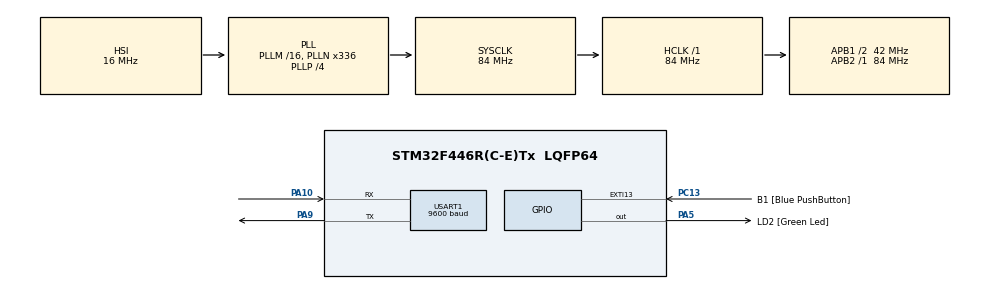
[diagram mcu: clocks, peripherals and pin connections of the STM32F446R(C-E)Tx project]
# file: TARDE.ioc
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Dma.Request0=USART1_RX
Dma.Request1=USART1_TX
Dma.USART1_RX.0.Direction=DMA_PERIPH_TO_MEMORY
Dma.USART1_RX.0.FIFOMode=DMA_FIFOMODE_DISABLE
Dma.USART1_RX.0.Instance=DMA2_Stream2
Dma.USART1_RX.0.MemDataAlignment=DMA_MDATAALIGN_BYTE
Dma.USART1_RX.0.MemInc=DMA_MINC_ENABLE
Dma.USART1_RX.0.Mode=DMA_NORMAL
Dma.USART1_RX.0.PeriphDataAlignment=DMA_PDATAALIGN_BYTE
Dma.USART1_RX.0.PeriphInc=DMA_PINC_DISABLE
Dma.USART1_RX.0.Priority=DMA_PRIORITY_LOW
Dma.USART1_TX.1.Direction=DMA_MEMORY_TO_PERIPH
Dma.USART1_TX.1.FIFOMode=DMA_FIFOMODE_DISABLE
Dma.USART1_TX.1.Instance=DMA2_Stream7
Dma.USART1_TX.1.MemDataAlignment=DMA_MDATAALIGN_BYTE
Dma.USART1_TX.1.MemInc=DMA_MINC_ENABLE
Dma.USART1_TX.1.Mode=DMA_NORMAL
Dma.USART1_TX.1.PeriphDataAlignment=DMA_PDATAALIGN_BYTE
Dma.USART1_TX.1.PeriphInc=DMA_PINC_DISABLE
Dma.USART1_TX.1.Priority=DMA_PRIORITY_LOW
Mcu.Family=STM32F4
Mcu.Name=STM32F446R(C-E)Tx
Mcu.Package=LQFP64
NVIC.DMA2_Stream2_IRQn=true\:0\:0\:false\:false\:true\:false\:true\:true
NVIC.DMA2_Stream7_IRQn=true\:0\:0\:false\:false\:true\:false\:true\:true
NVIC.PriorityGroup=NVIC_PRIORITYGROUP_0
NVIC.USART1_IRQn=true\:0\:0\:false\:false\:true\:true\:true\:true
PA10.Mode=Asynchronous
PA10.Signal=USART1_RX
PA5.GPIO_Label=LD2 [Green Led]
PA5.Signal=GPIO_Output
PA9.Mode=Asynchronous
PA9.Signal=USART1_TX
PC13.GPIO_Label=B1 [Blue PushButton]
PC13.GPIO_ModeDefaultEXTI=GPIO_MODE_IT_FALLING
PC13.Signal=GPXTI13
PC14-OSC32_IN.Mode=LSE-External-Oscillator
PC14-OSC32_IN.Signal=RCC_OSC32_IN
PC15-OSC32_OUT.Mode=LSE-External-Oscillator
PC15-OSC32_OUT.Signal=RCC_OSC32_OUT
PH0-OSC_IN.Mode=HSE-External-Oscillator
PH0-OSC_IN.Signal=RCC_OSC_IN
PH1-OSC_OUT.Mode=HSE-External-Oscillator
PH1-OSC_OUT.Signal=RCC_OSC_OUT
ProjectManager.HeapSize=0x200
ProjectManager.StackSize=0x400
ProjectManager.TargetToolchain=STM32CubeIDE
RCC.48MHZClocksFreq_Value=84000000
RCC.AHBFreq_Value=84000000
RCC.APB1CLKDivider=RCC_HCLK_DIV2
RCC.APB1Freq_Value=42000000
RCC.APB1TimFreq_Value=84000000
RCC.APB2Freq_Value=84000000
RCC.APB2TimFreq_Value=84000000
RCC.CortexFreq_Value=84000000
RCC.FLatency-AdvancedSettings=FLASH_LATENCY_2
RCC.HCLKFreq_Value=84000000
RCC.HSE_VALUE=8000000
RCC.HSI_VALUE=16000000
RCC.PLLN=336
RCC.PLLP=RCC_PLLP_DIV4
RCC.SYSCLKFreq_VALUE=84000000
RCC.SYSCLKSource=RCC_SYSCLKSOURCE_PLLCLK
RCC.USBFreq_Value=168000000
RCC.VCOOutputFreq_Value=336000000
USART1.BaudRate=9600
USART1.VirtualMode=VM_ASYNC
board=NUCLEO-F446RE

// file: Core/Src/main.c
/* USER CODE BEGIN Header */
/**
  ******************************************************************************
  * @file           : main.c
  * @brief          : Main program body
  ******************************************************************************
  * @attention
  *
  * Copyright (c) 2023 STMicroelectronics.
  * All rights reserved.
  *
  * This software is licensed under terms that can be found in the LICENSE file
  * in the root directory of this software component.
  * If no LICENSE file comes with this software, it is provided AS-IS.
  *
  ******************************************************************************
  */
/* USER CODE END Header */
#include "main.h"
#include "stm32f4xx_hal_uart.h"
#include <string.h>

UART_HandleTypeDef huart1;
DMA_HandleTypeDef hdma_usart1_rx;
DMA_HandleTypeDef hdma_usart1_tx;

/* USER CODE BEGIN PV */
uint8_t tx_buffer[]="MATIAS\r";
uint8_t rx_buffer[5];
uint8_t comparate[]="LEDUP";
uint8_t comparate1[]="LEDDW";

int compareBuffers(const uint8_t *buffer1, const uint8_t *buffer2, size_t size)
{
  for (size_t i = 0; i < size; i++)
  {
    if (buffer1[i] != buffer2[i])
    {
      return -1; // Los buffers son diferentes
    }
  }
  return 0; // Los buffers son iguales
}

void HAL_UART_RxCpltCallback(UART_HandleTypeDef *huart)
{
	UNUSED(huart);

	HAL_UART_Receive_DMA(&huart1, rx_buffer, 5);
	//PUEDO HACERLO ENTRAR TODAS LAS VECES Q QUIERO Y SOLO COMPARE LAS CADENAS UNA VEZ QUE SE LE MANDA UN ESPACIO
	if((compareBuffers(rx_buffer, comparate, strlen("LEDUP")))==0)
	{
		HAL_GPIO_WritePin(GPIOA, GPIO_PIN_5, GPIO_PIN_SET);
		HAL_UART_Transmit_DMA(&huart1, (uint8_t*)"LED is ON. \n\r", strlen("LED is ON. \n\r"));
		memset(rx_buffer,'\0',5);
//		HAL_Delay(1500);
	}
	else if((compareBuffers(rx_buffer, comparate1, strlen("LEDDW")))==0)
	{
		HAL_GPIO_WritePin(GPIOA, GPIO_PIN_5, GPIO_PIN_RESET);
		HAL_UART_Transmit_DMA(&huart1, (uint8_t*)"LED is OFF. \n\r", strlen("LED is OFF. \n\r"));
		memset(rx_buffer,'\0',5);
	}

}

/* USER CODE END PV */

void SystemClock_Config(void);
static void MX_GPIO_Init(void);
static void MX_DMA_Init(void);
static void MX_USART1_UART_Init(void);

int main(void)
{

  /* MCU Configuration--------------------------------------------------------*/

  /* Reset of all peripherals, Initializes the Flash interface and the Systick. */
  HAL_Init();

  /* Configure the system clock */
  SystemClock_Config();

  /* Initialize all configured peripherals */
  MX_GPIO_Init();
  MX_DMA_Init();
  MX_USART1_UART_Init();
  /* USER CODE BEGIN 2 */

  HAL_UART_Receive_DMA(&huart1, rx_buffer, 5);
  /* USER CODE END 2 */

  /* Infinite loop */
  while (1)
  {

  }
}

void SystemClock_Config(void)
{
  RCC_OscInitTypeDef RCC_OscInitStruct = {0};
  RCC_ClkInitTypeDef RCC_ClkInitStruct = {0};

  /** Configure the main internal regulator output voltage
  */
  __HAL_RCC_PWR_CLK_ENABLE();
  __HAL_PWR_VOLTAGESCALING_CONFIG(PWR_REGULATOR_VOLTAGE_SCALE3);

  /** Initializes the RCC Oscillators according to the specified parameters
  * in the RCC_OscInitTypeDef structure.
  */
  RCC_OscInitStruct.OscillatorType = RCC_OSCILLATORTYPE_HSI;
  RCC_OscInitStruct.HSIState = RCC_HSI_ON;
  RCC_OscInitStruct.HSICalibrationValue = RCC_HSICALIBRATION_DEFAULT;
  RCC_OscInitStruct.PLL.PLLState = RCC_PLL_ON;
  RCC_OscInitStruct.PLL.PLLSource = RCC_PLLSOURCE_HSI;
  RCC_OscInitStruct.PLL.PLLM = 16;
  RCC_OscInitStruct.PLL.PLLN = 336;
  RCC_OscInitStruct.PLL.PLLP = RCC_PLLP_DIV4;
  RCC_OscInitStruct.PLL.PLLQ = 2;
  RCC_OscInitStruct.PLL.PLLR = 2;
  if (HAL_RCC_OscConfig(&RCC_OscInitStruct) != HAL_OK)
  {
    Error_Handler();
  }

  /** Initializes the CPU, AHB and APB buses clocks
  */
  RCC_ClkInitStruct.ClockType = RCC_CLOCKTYPE_HCLK|RCC_CLOCKTYPE_SYSCLK
                              |RCC_CLOCKTYPE_PCLK1|RCC_CLOCKTYPE_PCLK2;
  RCC_ClkInitStruct.SYSCLKSource = RCC_SYSCLKSOURCE_PLLCLK;
  RCC_ClkInitStruct.AHBCLKDivider = RCC_SYSCLK_DIV1;
  RCC_ClkInitStruct.APB1CLKDivider = RCC_HCLK_DIV2;
  RCC_ClkInitStruct.APB2CLKDivider = RCC_HCLK_DIV1;

  if (HAL_RCC_ClockConfig(&RCC_ClkInitStruct, FLASH_LATENCY_2) != HAL_OK)
  {
    Error_Handler();
  }
}

static void MX_USART1_UART_Init(void)
{

  huart1.Instance = USART1;
  huart1.Init.BaudRate = 9600;
  huart1.Init.WordLength = UART_WORDLENGTH_8B;
  huart1.Init.StopBits = UART_STOPBITS_1;
  huart1.Init.Parity = UART_PARITY_NONE;
  huart1.Init.Mode = UART_MODE_TX_RX;
  huart1.Init.HwFlowCtl = UART_HWCONTROL_NONE;
  huart1.Init.OverSampling = UART_OVERSAMPLING_16;
  if (HAL_UART_Init(&huart1) != HAL_OK)
  {
    Error_Handler();
  }

}

static void MX_DMA_Init(void)
{

  /* DMA controller clock enable */
  __HAL_RCC_DMA2_CLK_ENABLE();

  /* DMA interrupt init */
  /* DMA2_Stream2_IRQn interrupt configuration */
  HAL_NVIC_SetPriority(DMA2_Stream2_IRQn, 0, 0);
  HAL_NVIC_EnableIRQ(DMA2_Stream2_IRQn);
  /* DMA2_Stream7_IRQn interrupt configuration */
  HAL_NVIC_SetPriority(DMA2_Stream7_IRQn, 0, 0);
  HAL_NVIC_EnableIRQ(DMA2_Stream7_IRQn);

}

static void MX_GPIO_Init(void)
{
  GPIO_InitTypeDef GPIO_InitStruct = {0};

  /* GPIO Ports Clock Enable */
  __HAL_RCC_GPIOC_CLK_ENABLE();
  __HAL_RCC_GPIOH_CLK_ENABLE();
  __HAL_RCC_GPIOA_CLK_ENABLE();

  /*Configure GPIO pin Output Level */
  HAL_GPIO_WritePin(LD2_GPIO_Port, LD2_Pin, GPIO_PIN_RESET);

  /*Configure GPIO pin : B1_Pin */
  GPIO_InitStruct.Pin = B1_Pin;
  GPIO_InitStruct.Mode = GPIO_MODE_IT_FALLING;
  GPIO_InitStruct.Pull = GPIO_NOPULL;
  HAL_GPIO_Init(B1_GPIO_Port, &GPIO_InitStruct);

  /*Configure GPIO pin : LD2_Pin */
  GPIO_InitStruct.Pin = LD2_Pin;
  GPIO_InitStruct.Mode = GPIO_MODE_OUTPUT_PP;
  GPIO_InitStruct.Pull = GPIO_NOPULL;
  GPIO_InitStruct.Speed = GPIO_SPEED_FREQ_LOW;
  HAL_GPIO_Init(LD2_GPIO_Port, &GPIO_InitStruct);

}

void Error_Handler(void)
{
  __disable_irq();
  while (1)
  {
  }
}
